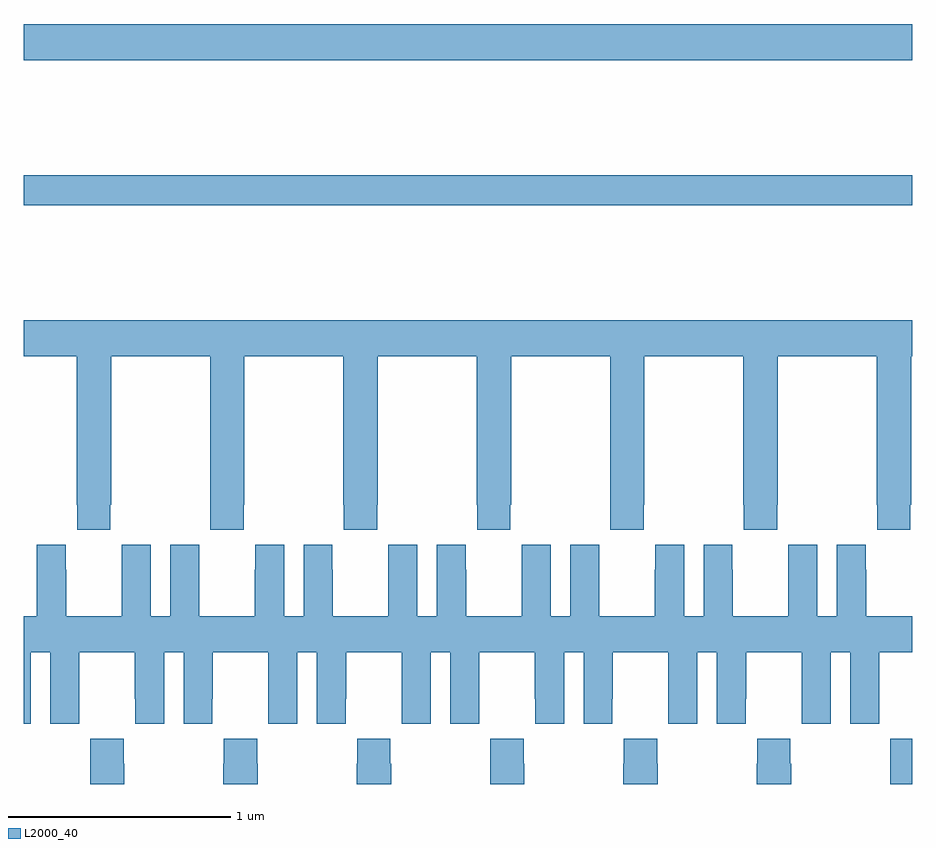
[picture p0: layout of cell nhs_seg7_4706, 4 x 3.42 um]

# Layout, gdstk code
import gdstk
lib = gdstk.Library(unit=1e-6, precision=1e-09)
def R(c, l, rs):  # rectangles x0, y0, x1, y1
    for r in rs: c.add(gdstk.rectangle(r[:2], r[2:], *l))
def P(c, l, *ps):  # polygons
    for p in ps: c.add(gdstk.Polygon(p, *l))
L2000_40 = (2000, 40)

nhs_seg7_4706 = lib.new_cell('nhs_seg7_4706')
R(nhs_seg7_4706, L2000_40, [(407,1026.604,411,1026.74), (407,1027.256,411,1027.42)])
P(nhs_seg7_4706, L2000_40, [(407.391,1025.257),(407.394,1025.257),(407.394,1025.924),(407.839,1025.924),(407.839,1025.257),(407.841,1025.257),(407.841,1025.145),(407.991,1025.145),(407.991,1025.257),(407.994,1025.257),(407.994,1025.924),(408.439,1025.924),(408.439,1025.257),(408.441,1025.257),(408.441,1025.145),(408.591,1025.145),(408.591,1025.257),(408.594,1025.257),(408.594,1025.924),(409.039,1025.924),(409.039,1025.257),(409.041,1025.257),(409.041,1025.145),(409.191,1025.145),(409.191,1025.257),(409.194,1025.257),(409.194,1025.924),(409.639,1025.924),(409.639,1025.257),(409.641,1025.257),(409.641,1025.145),(409.791,1025.145),(409.791,1025.257),(409.794,1025.257),(409.794,1025.924),(410.239,1025.924),(410.239,1025.257),(410.241,1025.257),(410.241,1025.145),(410.391,1025.145),(410.391,1025.257),(410.394,1025.257),(410.394,1025.924),(410.839,1025.924),(410.839,1025.257),(410.841,1025.257),(410.841,1025.145),(410.991,1025.145),(410.991,1025.257),(410.994,1025.257),(410.994,1025.924),(411,1025.924),(411,1026.088),(407,1026.088),(407,1025.924),(407.239,1025.924),(407.239,1025.257),(407.241,1025.257),(407.241,1025.145),(407.391,1025.145)],
  [(409.901,1024.384),(409.902,1024.384),(409.902,1024.272),(410.032,1024.272),(410.032,1024.592),(410.12,1024.592),(410.12,1024.272),(410.25,1024.272),(410.25,1024.384),(410.251,1024.384),(410.251,1024.592),(410.501,1024.592),(410.501,1024.384),(410.502,1024.384),(410.502,1024.272),(410.632,1024.272),(410.632,1024.592),(410.72,1024.592),(410.72,1024.272),(410.85,1024.272),(410.85,1024.384),(410.851,1024.384),(410.851,1024.592),(411,1024.592),(411,1024.756),(410.791,1024.756),(410.791,1024.964),(410.79,1024.964),(410.79,1025.077),(410.66,1025.077),(410.66,1024.756),(410.572,1024.756),(410.572,1025.077),(410.442,1025.077),(410.442,1024.964),(410.441,1024.964),(410.441,1024.756),(410.191,1024.756),(410.191,1024.964),(410.19,1024.964),(410.19,1025.077),(410.06,1025.077),(410.06,1024.756),(409.972,1024.756),(409.972,1025.077),(409.842,1025.077),(409.842,1024.964),(409.841,1024.964),(409.841,1024.756),(409.591,1024.756),(409.591,1024.964),(409.59,1024.964),(409.59,1025.077),(409.46,1025.077),(409.46,1024.756),(409.372,1024.756),(409.372,1025.077),(409.242,1025.077),(409.242,1024.964),(409.241,1024.964),(409.241,1024.756),(408.991,1024.756),(408.991,1024.964),(408.99,1024.964),(408.99,1025.077),(408.86,1025.077),(408.86,1024.756),(408.772,1024.756),(408.772,1025.077),(408.642,1025.077),(408.642,1024.964),(408.641,1024.964),(408.641,1024.756),(408.391,1024.756),(408.391,1024.964),(408.39,1024.964),(408.39,1025.077),(408.26,1025.077),(408.26,1024.756),(408.172,1024.756),(408.172,1025.077),(408.042,1025.077),(408.042,1024.964),(408.041,1024.964),(408.041,1024.756),(407.791,1024.756),(407.791,1024.964),(407.79,1024.964),(407.79,1025.077),(407.66,1025.077),(407.66,1024.756),(407.572,1024.756),(407.572,1025.077),(407.442,1025.077),(407.442,1024.964),(407.441,1024.964),(407.441,1024.756),(407.191,1024.756),(407.191,1024.964),(407.19,1024.964),(407.19,1025.077),(407.06,1025.077),(407.06,1024.756),(407,1024.756),(407,1024.272),(407.032,1024.272),(407.032,1024.592),(407.12,1024.592),(407.12,1024.272),(407.25,1024.272),(407.25,1024.384),(407.251,1024.384),(407.251,1024.592),(407.501,1024.592),(407.501,1024.384),(407.502,1024.384),(407.502,1024.272),(407.632,1024.272),(407.632,1024.592),(407.72,1024.592),(407.72,1024.272),(407.85,1024.272),(407.85,1024.384),(407.851,1024.384),(407.851,1024.592),(408.101,1024.592),(408.101,1024.384),(408.102,1024.384),(408.102,1024.272),(408.232,1024.272),(408.232,1024.592),(408.32,1024.592),(408.32,1024.272),(408.45,1024.272),(408.45,1024.384),(408.451,1024.384),(408.451,1024.592),(408.701,1024.592),(408.701,1024.384),(408.702,1024.384),(408.702,1024.272),(408.832,1024.272),(408.832,1024.592),(408.92,1024.592),(408.92,1024.272),(409.05,1024.272),(409.05,1024.384),(409.051,1024.384),(409.051,1024.592),(409.301,1024.592),(409.301,1024.384),(409.302,1024.384),(409.302,1024.272),(409.432,1024.272),(409.432,1024.592),(409.52,1024.592),(409.52,1024.272),(409.65,1024.272),(409.65,1024.384),(409.651,1024.384),(409.651,1024.592),(409.901,1024.592)],
  [(411,1024.204),(410.901,1024.204),(410.901,1024.091),(410.899,1024.091),(410.899,1024),(411,1024)],
  [(407.454,1024.091),(407.451,1024.091),(407.451,1024.204),(407.301,1024.204),(407.301,1024.091),(407.299,1024.091),(407.299,1024),(407.454,1024)],
  [(408.054,1024.091),(408.051,1024.091),(408.051,1024.204),(407.901,1024.204),(407.901,1024.091),(407.899,1024.091),(407.899,1024),(408.054,1024)],
  [(408.654,1024.091),(408.651,1024.091),(408.651,1024.204),(408.501,1024.204),(408.501,1024.091),(408.499,1024.091),(408.499,1024),(408.654,1024)],
  [(409.254,1024.091),(409.251,1024.091),(409.251,1024.204),(409.101,1024.204),(409.101,1024.091),(409.099,1024.091),(409.099,1024),(409.254,1024)],
  [(409.854,1024.091),(409.851,1024.091),(409.851,1024.204),(409.701,1024.204),(409.701,1024.091),(409.699,1024.091),(409.699,1024),(409.854,1024)],
  [(410.454,1024.091),(410.451,1024.091),(410.451,1024.204),(410.301,1024.204),(410.301,1024.091),(410.299,1024.091),(410.299,1024),(410.454,1024)])

lib.write_gds('nhs_seg7_4706.gds')
